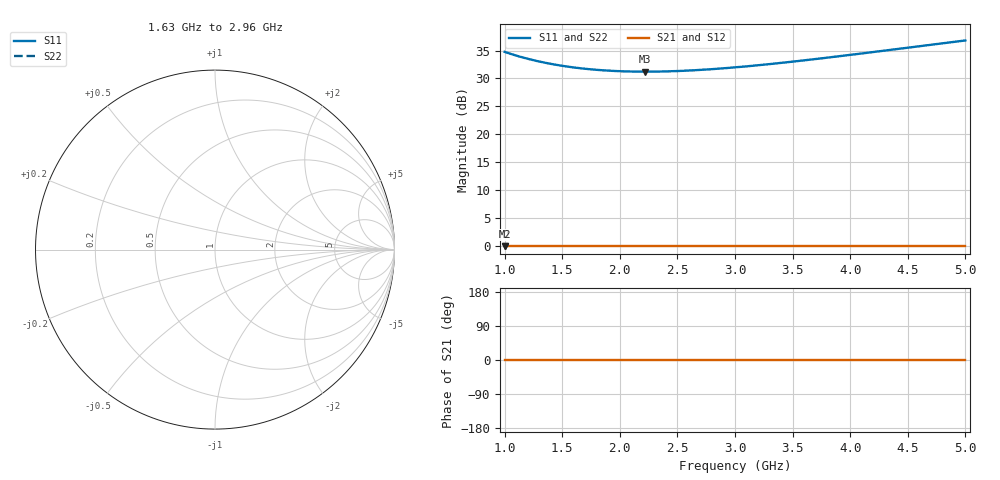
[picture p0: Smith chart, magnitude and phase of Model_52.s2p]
# GHZ S RI R 50
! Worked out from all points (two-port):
!   401 points, 1 GHz to 5 GHz, reference 50 ohm
!   highest |S21| = 0.00 dB at 1 GHz (marker M1); lowest = 0.0 dB at 1 GHz (marker M2)
!   |S21| within 3 dB of the highest: start of sweep to end of sweep
!   lowest |S11| = 31.2 dB at 2.22 GHz (marker M3)
!   |S11| at or under -10 dB: nowhere
!   |S22| runs from 31.2 to 36.8 dB; largest |S21 - S12| = 0
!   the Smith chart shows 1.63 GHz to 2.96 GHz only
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1  54.71 0  1 0  1 0  54.71 0
1.15  48.98 0  1 0  1 0  48.98 0
1.22  46.89 0  1 0  1 0  46.89 0
1.3  44.85 0  1 0  1 0  44.85 0
1.38  43.12 0  1 0  1 0  43.12 0
1.47  41.51 0  1 0  1 0  41.51 0
1.57  40.05 0  1 0  1 0  40.05 0
1.67  38.89 0  1 0  1 0  38.89 0
1.8  37.77 0  1 0  1 0  37.77 0
1.93  37.01 0  1 0  1 0  37.01 0
2.07  36.53 0  1 0  1 0  36.53 0
2.22  36.37 0  1 0  1 0  36.37 0
2.34  36.46 0  1 0  1 0  36.46 0
2.5  36.85 0  1 0  1 0  36.85 0
2.66  37.52 0  1 0  1 0  37.52 0
3  39.75 0  1 0  1 0  39.75 0
3.33  42.82 0  1 0  1 0  42.82 0
3.67  46.8 0  1 0  1 0  46.8 0
4  51.39 0  1 0  1 0  51.39 0
4.34  56.81 0  1 0  1 0  56.81 0
4.63  61.95 0  1 0  1 0  61.95 0
5  69.18 0  1 0  1 0  69.18 0
